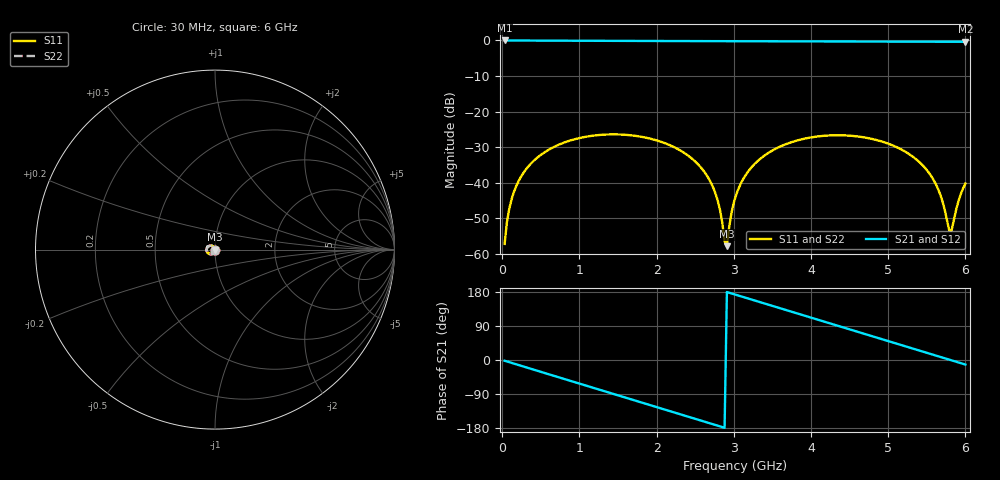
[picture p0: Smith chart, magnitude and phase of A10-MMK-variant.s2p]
! yapnr Order 0 O0-M: O0-M A10 M-MK 30 (variant, family M-MK)
! stackup OSHPARK-4L-EM528, nominal parameters; geometry of the OSHPARK-4L-FR408HR design
! model: 2D quasi-static RLGC (Djordjevic-Sarkar, Huray roughness, Wheeler loss); generated by python -m yapnr.rf.coupons expected --stackup OSHPARK-4L-FR408HR --upload M
! reference planes 10 mm from each end; 50 ohm (from the M line's Zc)
# GHz S DB R 50
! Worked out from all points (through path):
!   200 points, 30 MHz to 6 GHz, reference 50 ohm
!   highest |S21| = -0.01 dB at 30 MHz (marker M1); lowest = -0.4 dB at 6 GHz (marker M2)
!   group delay of S21, straight-line fit = 172 ps
!   lowest |S11| = -57.8 dB at 2.91 GHz (marker M3), VSWR 1.00, Z = 49.9 - j0.0589 ohm
!   |S11| at or under -10 dB: start of sweep to end of sweep
!   |S22| runs from -57.8 to -26.4 dB; largest |S21 - S12| = 0
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0.03  -57.18 -49.0  -0.01 -1.9  -0.01 -1.9  -57.18 -49.0
0.06  -51.06 -66.9  -0.01 -3.8  -0.01 -3.8  -51.06 -66.9
0.12  -44.67 -80.7  -0.02 -7.6  -0.02 -7.6  -44.67 -80.7
0.3  -36.43 -99.6  -0.04 -18.8  -0.04 -18.8  -36.43 -99.6
0.6  -30.74 -121.6  -0.07 -37.5  -0.07 -37.5  -30.74 -121.6
1.05  -27.21 -151.2  -0.10 -65.5  -0.10 -65.5  -27.21 -151.2
1.53  -26.44 178.4  -0.14 -95.2  -0.14 -95.2  -26.44 178.4
2.04  -28.37 147.0  -0.17 -126.8  -0.17 -126.8  -28.37 147.0
2.64  -37.63 113.0  -0.20 -163.9  -0.20 -163.9  -37.63 113.0
2.79  -44.92 110.4  -0.21 -173.2  -0.21 -173.2  -44.92 110.4
2.91  -57.82 -152.6  -0.21 179.3  -0.21 179.3  -57.82 -152.6
2.97  -48.40 -110.1  -0.22 175.6  -0.22 175.6  -48.40 -110.1
3.03  -43.40 -106.0  -0.22 171.9  -0.22 171.9  -43.40 -106.0
3.39  -32.46 -121.1  -0.24 149.6  -0.24 149.6  -32.46 -121.1
4.02  -27.18 -158.3  -0.29 110.6  -0.29 110.6  -27.18 -158.3
4.5  -26.76 172.8  -0.31 80.9  -0.31 80.9  -26.76 172.8
5.01  -29.09 142.7  -0.34 49.3  -0.34 49.3  -29.09 142.7
5.55  -37.90 115.6  -0.37 15.9  -0.37 15.9  -37.90 115.6
5.67  -43.06 115.8  -0.37 8.4  -0.37 8.4  -43.06 115.8
5.79  -53.34 160.2  -0.38 1.0  -0.38 1.0  -53.34 160.2
5.82  -53.49 -160.8  -0.38 -0.8  -0.38 -0.8  -53.49 -160.8
6  -40.22 -112.6  -0.39 -12.0  -0.39 -12.0  -40.22 -112.6
